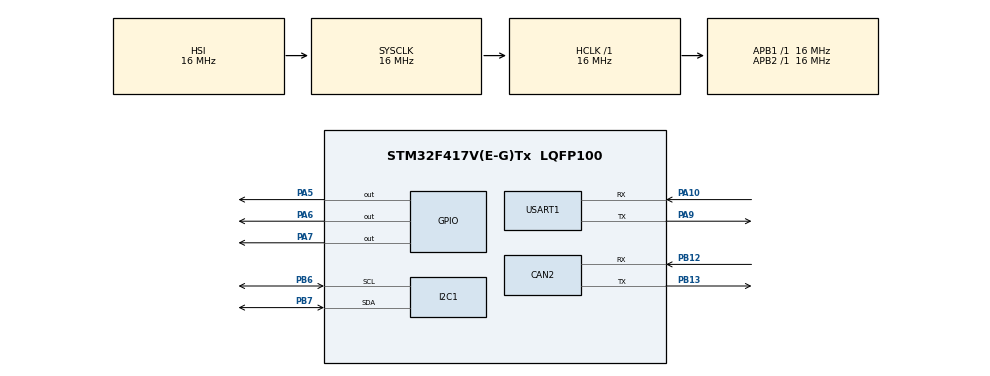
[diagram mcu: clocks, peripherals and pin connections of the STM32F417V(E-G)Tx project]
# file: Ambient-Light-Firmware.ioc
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CAN2.CalculateTimeBit=3000
CAN2.CalculateTimeQuantum=1000.0
Mcu.Family=STM32F4
Mcu.Name=STM32F417V(E-G)Tx
Mcu.Package=LQFP100
NVIC.PriorityGroup=NVIC_PRIORITYGROUP_4
PA10.Mode=Asynchronous
PA10.Signal=USART1_RX
PA13.Mode=Serial_Wire
PA13.Signal=SYS_JTMS-SWDIO
PA14.Mode=Serial_Wire
PA14.Signal=SYS_JTCK-SWCLK
PA5.Signal=GPIO_Output
PA6.Signal=GPIO_Output
PA7.Signal=GPIO_Output
PA9.Mode=Asynchronous
PA9.Signal=USART1_TX
PB12.Mode=Slave
PB12.Signal=CAN2_RX
PB13.Mode=Slave
PB13.Signal=CAN2_TX
PB3.Signal=SYS_JTDO-SWO
PB6.Mode=I2C
PB6.Signal=I2C1_SCL
PB7.Mode=I2C
PB7.Signal=I2C1_SDA
PH0-OSC_IN.Mode=HSE-External-Oscillator
PH0-OSC_IN.Signal=RCC_OSC_IN
PH1-OSC_OUT.Mode=HSE-External-Oscillator
PH1-OSC_OUT.Signal=RCC_OSC_OUT
ProjectManager.HeapSize=0x200
ProjectManager.StackSize=0x400
ProjectManager.TargetToolchain=SW4STM32
RCC.AHBFreq_Value=16000000
RCC.APB1Freq_Value=16000000
RCC.APB2Freq_Value=16000000
RCC.CortexFreq_Value=16000000
RCC.HSE_VALUE=25000000
RCC.HSI_VALUE=16000000
RCC.LSE_VALUE=32768
RCC.SYSCLKFreq_VALUE=16000000
RCC.VCOOutputFreq_Value=192000000
board=Ambient-Light-Firmware

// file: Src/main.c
/**
  ******************************************************************************
  * File Name          : main.c
  * Description        : Main program body
  ******************************************************************************
  *
  * COPYRIGHT(c) 2017 STMicroelectronics
  *
  * Redistribution and use in source and binary forms, with or without modification,
  * are permitted provided that the following conditions are met:
  *   1. Redistributions of source code must retain the above copyright notice,
  *      this list of conditions and the following disclaimer.
  *   2. Redistributions in binary form must reproduce the above copyright notice,
  *      this list of conditions and the following disclaimer in the documentation
  *      and/or other materials provided with the distribution.
  *   3. Neither the name of STMicroelectronics nor the names of its contributors
  *      may be used to endorse or promote products derived from this software
  *      without specific prior written permission.
  *
  * THIS SOFTWARE IS PROVIDED BY THE COPYRIGHT HOLDERS AND CONTRIBUTORS "AS IS"
  * AND ANY EXPRESS OR IMPLIED WARRANTIES, INCLUDING, BUT NOT LIMITED TO, THE
  * IMPLIED WARRANTIES OF MERCHANTABILITY AND FITNESS FOR A PARTICULAR PURPOSE ARE
  * DISCLAIMED. IN NO EVENT SHALL THE COPYRIGHT HOLDER OR CONTRIBUTORS BE LIABLE
  * FOR ANY DIRECT, INDIRECT, INCIDENTAL, SPECIAL, EXEMPLARY, OR CONSEQUENTIAL
  * DAMAGES (INCLUDING, BUT NOT LIMITED TO, PROCUREMENT OF SUBSTITUTE GOODS OR
  * SERVICES; LOSS OF USE, DATA, OR PROFITS; OR BUSINESS INTERRUPTION) HOWEVER
  * CAUSED AND ON ANY THEORY OF LIABILITY, WHETHER IN CONTRACT, STRICT LIABILITY,
  * OR TORT (INCLUDING NEGLIGENCE OR OTHERWISE) ARISING IN ANY WAY OUT OF THE USE
  * OF THIS SOFTWARE, EVEN IF ADVISED OF THE POSSIBILITY OF SUCH DAMAGE.
  *
  ******************************************************************************
  */
#include "main.h"
#include "stm32f4xx_hal.h"

CAN_HandleTypeDef hcan2;

I2C_HandleTypeDef hi2c1;

UART_HandleTypeDef huart1;

/* USER CODE BEGIN PV */
/* Private variables ---------------------------------------------------------*/

/* USER CODE END PV */

void SystemClock_Config(void);
void Error_Handler(void);
static void MX_GPIO_Init(void);
static void MX_CAN2_Init(void);
static void MX_I2C1_Init(void);
static void MX_USART1_UART_Init(void);

/* USER CODE BEGIN PFP */
/* Private function prototypes -----------------------------------------------*/

/* USER CODE END PFP */

/* USER CODE BEGIN 0 */
	uint8_t G_u8write_data[2];
	uint8_t G_u8read_data[2];
	uint16_t G_u16parsed_data;
	uint8_t G_u8status;
/* USER CODE END 0 */

int main(void)
{

  /* MCU Configuration----------------------------------------------------------*/

  /* Reset of all peripherals, Initializes the Flash interface and the Systick. */
  HAL_Init();

  /* Configure the system clock */
  SystemClock_Config();

  /* Initialize all configured peripherals */
  MX_GPIO_Init();
  MX_CAN2_Init();
  MX_I2C1_Init();
  MX_USART1_UART_Init();

  /* USER CODE BEGIN 2 */

  /* Control registers, enable ALS with a gain of 1X*/
  G_u8write_data[0] = ALS_CONTR;	// ALS Control Register
  G_u8write_data[1] = 0x01;			// Gain 1X
  HAL_I2C_Master_Transmit(&hi2c1, SLAVE_ADDR, G_u8write_data, 2, 200);

  /* Set ALS Measurement Rate and integration time */
  G_u8write_data[0] = ALS_MEAS_RATE;	// ALS Measurement Rate Register
  G_u8write_data[1] = 0x12;				// Integration Time = 200ms, Measurement repeat rate = 200ms
  HAL_I2C_Master_Transmit(&hi2c1, SLAVE_ADDR, G_u8write_data, 2, 200);

  /* ALS Data Register Read Low Byte from CH1_00 */
  G_u8write_data[0] = ALS_DATA_CH1_00;
  HAL_I2C_Master_Transmit(&hi2c1, SLAVE_ADDR, G_u8write_data, 1, 200);
  HAL_I2C_Master_Receive(&hi2c1, SLAVE_ADDR, G_u8read_data, 1, 200);

  /* ALS Data Register Read High Byte from CH1_01 */
  G_u8write_data[0] = ALS_DATA_CH1_01;
  HAL_I2C_Master_Transmit(&hi2c1, SLAVE_ADDR, G_u8write_data, 1, 200);
  HAL_I2C_Master_Receive(&hi2c1, SLAVE_ADDR, &G_u8read_data[1], 1, 200);

  /* Parse HIGH and LOW bytes to get a 16-bit Ch1 value */
  G_u16parsed_data = (G_u8read_data[1] << 8) | G_u8read_data[0];

  /* USER CODE END 2 */

  /* Infinite loop */
  /* USER CODE BEGIN WHILE */
  while (1)
  {
	  G_u8write_data[0] = ALS_STATUS;
	  HAL_I2C_Master_Transmit(&hi2c1, SLAVE_ADDR, G_u8write_data, 1, 200);
	  HAL_I2C_Master_Receive(&hi2c1, SLAVE_ADDR, &G_u8status, 1, 200);

  /* USER CODE END WHILE */

  }

}

/** System Clock Configuration
*/
void SystemClock_Config(void)
{

  RCC_OscInitTypeDef RCC_OscInitStruct;
  RCC_ClkInitTypeDef RCC_ClkInitStruct;

    /**Configure the main internal regulator output voltage
    */
  __HAL_RCC_PWR_CLK_ENABLE();

  __HAL_PWR_VOLTAGESCALING_CONFIG(PWR_REGULATOR_VOLTAGE_SCALE1);

    /**Initializes the CPU, AHB and APB busses clocks
    */
  RCC_OscInitStruct.OscillatorType = RCC_OSCILLATORTYPE_HSI;
  RCC_OscInitStruct.HSIState = RCC_HSI_ON;
  RCC_OscInitStruct.HSICalibrationValue = 16;
  RCC_OscInitStruct.PLL.PLLState = RCC_PLL_NONE;
  if (HAL_RCC_OscConfig(&RCC_OscInitStruct) != HAL_OK)
  {
    Error_Handler();
  }

    /**Initializes the CPU, AHB and APB busses clocks
    */
  RCC_ClkInitStruct.ClockType = RCC_CLOCKTYPE_HCLK|RCC_CLOCKTYPE_SYSCLK
                              |RCC_CLOCKTYPE_PCLK1|RCC_CLOCKTYPE_PCLK2;
  RCC_ClkInitStruct.SYSCLKSource = RCC_SYSCLKSOURCE_HSI;
  RCC_ClkInitStruct.AHBCLKDivider = RCC_SYSCLK_DIV1;
  RCC_ClkInitStruct.APB1CLKDivider = RCC_HCLK_DIV1;
  RCC_ClkInitStruct.APB2CLKDivider = RCC_HCLK_DIV1;

  if (HAL_RCC_ClockConfig(&RCC_ClkInitStruct, FLASH_LATENCY_0) != HAL_OK)
  {
    Error_Handler();
  }

    /**Configure the Systick interrupt time
    */
  HAL_SYSTICK_Config(HAL_RCC_GetHCLKFreq()/1000);

    /**Configure the Systick
    */
  HAL_SYSTICK_CLKSourceConfig(SYSTICK_CLKSOURCE_HCLK);

  /* SysTick_IRQn interrupt configuration */
  HAL_NVIC_SetPriority(SysTick_IRQn, 0, 0);
}

/* CAN2 init function */
static void MX_CAN2_Init(void)
{

  hcan2.Instance = CAN2;
  hcan2.Init.Prescaler = 16;
  hcan2.Init.Mode = CAN_MODE_NORMAL;
  hcan2.Init.SJW = CAN_SJW_1TQ;
  hcan2.Init.BS1 = CAN_BS1_1TQ;
  hcan2.Init.BS2 = CAN_BS2_1TQ;
  hcan2.Init.TTCM = DISABLE;
  hcan2.Init.ABOM = DISABLE;
  hcan2.Init.AWUM = DISABLE;
  hcan2.Init.NART = DISABLE;
  hcan2.Init.RFLM = DISABLE;
  hcan2.Init.TXFP = DISABLE;
  if (HAL_CAN_Init(&hcan2) != HAL_OK)
  {
    Error_Handler();
  }

}

/* I2C1 init function */
static void MX_I2C1_Init(void)
{

  hi2c1.Instance = I2C1;
  hi2c1.Init.ClockSpeed = 100000;
  hi2c1.Init.DutyCycle = I2C_DUTYCYCLE_2;
  hi2c1.Init.OwnAddress1 = 0;
  hi2c1.Init.AddressingMode = I2C_ADDRESSINGMODE_7BIT;
  hi2c1.Init.DualAddressMode = I2C_DUALADDRESS_DISABLE;
  hi2c1.Init.OwnAddress2 = 0;
  hi2c1.Init.GeneralCallMode = I2C_GENERALCALL_DISABLE;
  hi2c1.Init.NoStretchMode = I2C_NOSTRETCH_DISABLE;
  if (HAL_I2C_Init(&hi2c1) != HAL_OK)
  {
    Error_Handler();
  }

}

/* USART1 init function */
static void MX_USART1_UART_Init(void)
{

  huart1.Instance = USART1;
  huart1.Init.BaudRate = 115200;
  huart1.Init.WordLength = UART_WORDLENGTH_8B;
  huart1.Init.StopBits = UART_STOPBITS_1;
  huart1.Init.Parity = UART_PARITY_NONE;
  huart1.Init.Mode = UART_MODE_TX_RX;
  huart1.Init.HwFlowCtl = UART_HWCONTROL_NONE;
  huart1.Init.OverSampling = UART_OVERSAMPLING_16;
  if (HAL_UART_Init(&huart1) != HAL_OK)
  {
    Error_Handler();
  }

}

/** Configure pins as
        * Analog
        * Input
        * Output
        * EVENT_OUT
        * EXTI
*/
static void MX_GPIO_Init(void)
{

  GPIO_InitTypeDef GPIO_InitStruct;

  /* GPIO Ports Clock Enable */
  __HAL_RCC_GPIOH_CLK_ENABLE();
  __HAL_RCC_GPIOA_CLK_ENABLE();
  __HAL_RCC_GPIOB_CLK_ENABLE();

  /*Configure GPIO pin Output Level */
  HAL_GPIO_WritePin(GPIOA, GPIO_PIN_5|GPIO_PIN_6|GPIO_PIN_7, GPIO_PIN_RESET);

  /*Configure GPIO pins : PA5 PA6 PA7 */
  GPIO_InitStruct.Pin = GPIO_PIN_5|GPIO_PIN_6|GPIO_PIN_7;
  GPIO_InitStruct.Mode = GPIO_MODE_OUTPUT_PP;
  GPIO_InitStruct.Pull = GPIO_NOPULL;
  GPIO_InitStruct.Speed = GPIO_SPEED_FREQ_LOW;
  HAL_GPIO_Init(GPIOA, &GPIO_InitStruct);

}

void Error_Handler(void)
{
  while(1)
  {
  }
}

/************************ (C) COPYRIGHT STMicroelectronics *****END OF FILE****/
